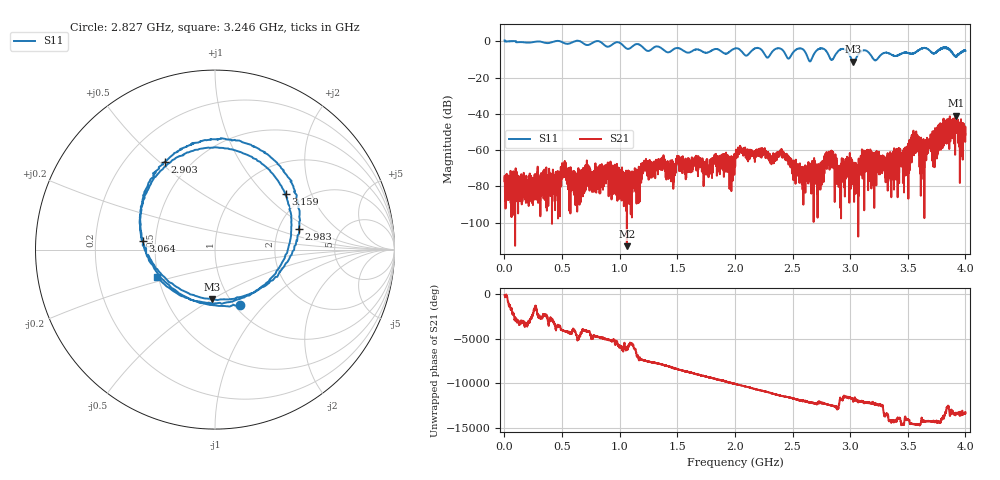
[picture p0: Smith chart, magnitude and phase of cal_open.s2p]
!Created with skrf (http://scikit-rf.org).
# GHz S RI R 50.0
!freq ReS11 ImS11 ReS21 ImS21 ReS12 ImS12 ReS22 ImS22
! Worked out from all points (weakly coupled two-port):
!   4000 points, 1 MHz to 4 GHz, reference 50 ohm
!   highest |S21| = -40.95 dB at 3.916 GHz (marker M1); lowest = -113.0 dB at 1.062 GHz (marker M2)
!   lowest |S11| = -11.2 dB at 3.027 GHz (marker M3), VSWR 1.76, Z = 41.7 - j24.8 ohm
!   |S11| at or under -10 dB: 2.638 GHz to 2.664 GHz (26.03 MHz wide, 0.982 % of centre); 3.013 GHz to 3.045 GHz (32.63 MHz wide, 1.08 % of centre); 3.205 GHz to 3.232 GHz (26.73 MHz wide, 0.83 % of centre) (the widest 3 of 4)
!   S12 and S22 are empty: the file has one direction only
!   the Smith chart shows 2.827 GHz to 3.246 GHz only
!   S11 on the Smith chart (normalised r, x): 2.827 GHz: 1.06, -0.74; 2.903 GHz: 0.36, +0.52; 2.983 GHz: 2.58, +0.79; 3.064 GHz: 0.42, +0.05; 3.159 GHz: 1.62, +1.33; 3.246 GHz: 0.49, -0.17
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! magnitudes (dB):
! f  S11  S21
! 1 MHz  0.5  -74.4
! 452 MHz  0.2  -83.2
! 515 MHz  -0.9  -74.2
! 668 MHz  -0.4  -71.0
! 1.062 GHz  -4.0  -113.0
! 1.334 GHz  -2.8  -66.5
! 2.001 GHz  -3.8  -65.6
! 2.403 GHz  -4.3  -61.7
! 2.667 GHz  -9.6  -70.6
! 2.827 GHz  -9.4  -64.8
! 2.903 GHz  -5.0  -69.6
! 2.983 GHz  -6.3  -66.0
! 3.027 GHz  -11.2  -79.1
! 3.064 GHz  -7.8  -70.2
! 3.159 GHz  -6.0  -67.2
! 3.246 GHz  -8.9  -63.8
! 3.334 GHz  -6.6  -68.2
! 3.47 GHz  -6.2  -71.1
! 3.554 GHz  -6.6  -62.8
! 3.631 GHz  -3.7  -64.5
! 3.916 GHz  -8.5  -41.0
! 4 GHz  -5.2  -51.5
